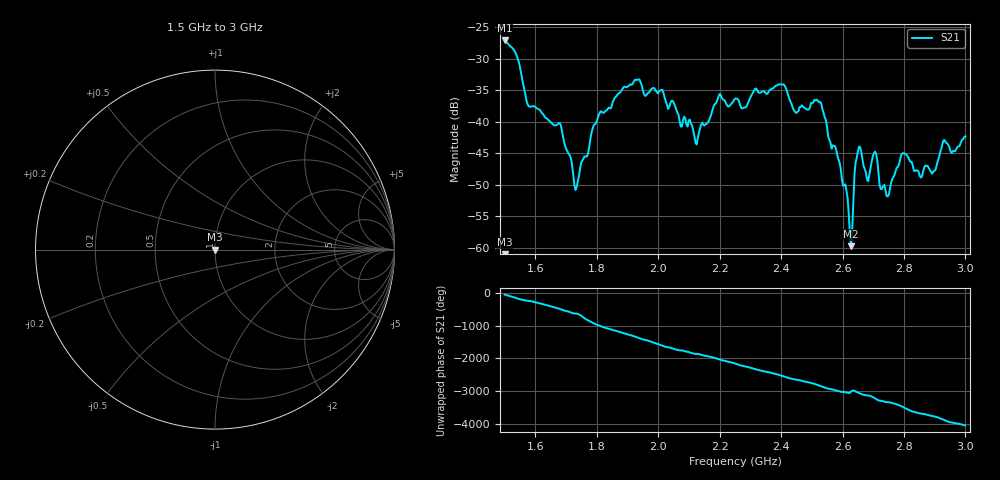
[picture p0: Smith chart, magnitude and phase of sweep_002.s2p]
# HZ S RI R 50
! BoneWave AI live acquisition
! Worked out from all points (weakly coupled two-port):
!   404 points, 1.5 GHz to 3 GHz, reference 50 ohm
!   highest |S21| = -27.06 dB at 1.5 GHz (marker M1); lowest = -59.7 dB at 2.628 GHz (marker M2)
!   lowest |S11| = - dB at 1.5 GHz (marker M3), VSWR 1.00, Z = 50 + j0 ohm
!   |S11| at or under -10 dB: start of sweep to end of sweep
!   S12 and S22 are empty: the file has one direction only
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1.5e9  0 0  0.0272 -0.035  0 0  0 0
1.578164e9  0 0  -0.00558 0.0121  0 0  0 0
1.67866e9  0 0  -0.00624 -0.00755  0 0  0 0
1.730769e9  0 0  0.000103 0.00288  0 0  0 0
1.753102e9  0 0  0.00489 -0.000564  0 0  0 0
1.887097e9  0 0  -0.0164 -0.00936  0 0  0 0
2.002481e9  0 0  -0.0127 -0.012  0 0  0 0
2.12531e9  0 0  0.00292 -0.00594  0 0  0 0
2.19603e9  0 0  -0.0122 0.0102  0 0  0 0
2.251861e9  0 0  0.0153 -0.00126  0 0  0 0
2.400744e9  0 0  0.0197 -0.00298  0 0  0 0
2.501241e9  0 0  -0.00614 0.0127  0 0  0 0
2.583127e9  0 0  -0.00223 -0.00492  0 0  0 0
2.627792e9  0 0  -0.000744 -0.000711  0 0  0 0
2.653846e9  0 0  -0.00637 -0.000111  0 0  0 0
2.679901e9  0 0  -0.000794 0.00338  0 0  0 0
2.705955e9  0 0  0.00559 0.0016  0 0  0 0
2.75062e9  0 0  -0.000634 -0.00256  0 0  0 0
2.799007e9  0 0  -0.00108 0.00553  0 0  0 0
2.895782e9  0 0  -0.004 -0.000654  0 0  0 0
2.92928e9  0 0  0.00119 0.00706  0 0  0 0
3e9  0 0  -0.000205 -0.00768  0 0  0 0
